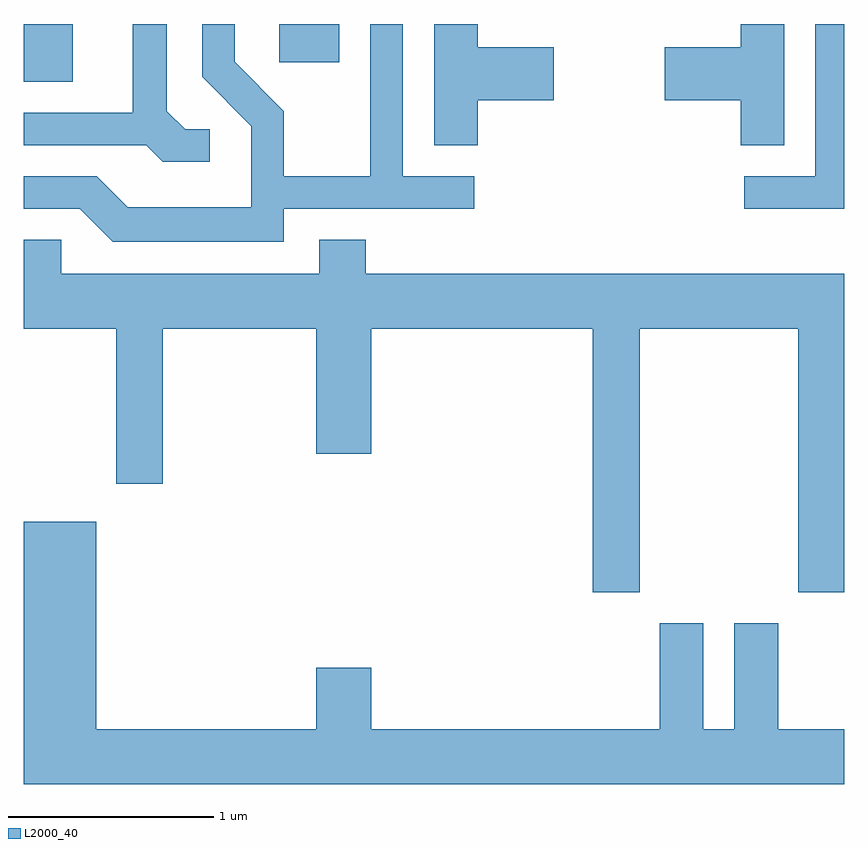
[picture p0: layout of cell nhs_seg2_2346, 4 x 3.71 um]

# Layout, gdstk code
import gdstk
lib = gdstk.Library(unit=1e-6, precision=1e-09)
def R(c, l, rs):  # rectangles x0, y0, x1, y1
    for r in rs: c.add(gdstk.rectangle(r[:2], r[2:], *l))
def P(c, l, *ps):  # polygons
    for p in ps: c.add(gdstk.Polygon(p, *l))
L2000_40 = (2000, 40)

nhs_seg2_2346 = lib.new_cell('nhs_seg2_2346')
R(nhs_seg2_2346, L2000_40, [(253.611,1049.521,253.849,1049.802), (254.856,1049.616,255.149,1049.802)])
P(nhs_seg2_2346, L2000_40, [(257.611,1049.802),(257.471,1049.802),(257.471,1049.059),(257.123,1049.059),(257.123,1048.901),(257.611,1048.901)],
  [(254.518,1049.289),(254.397,1049.289),(254.309,1049.377),(254.309,1049.802),(254.141,1049.802),(254.141,1049.369),(253.611,1049.369),(253.611,1049.211),(254.209,1049.211),(254.289,1049.131),(254.518,1049.131)],
  [(257.319,1049.802),(257.106,1049.802),(257.106,1049.689),(256.736,1049.689),(256.736,1049.431),(257.106,1049.431),(257.106,1049.211),(257.319,1049.211)],
  [(255.824,1049.431),(256.194,1049.431),(256.194,1049.689),(255.824,1049.689),(255.824,1049.802),(255.611,1049.802),(255.611,1049.211),(255.824,1049.211)],
  [(254.879,1048.901),(255.808,1048.901),(255.808,1049.059),(255.459,1049.059),(255.459,1049.802),(255.301,1049.802),(255.301,1049.059),(254.879,1049.059),(254.879,1049.377),(254.639,1049.617),(254.639,1049.802),(254.481,1049.802),(254.481,1049.544),(254.721,1049.304),(254.721,1048.909),(254.117,1048.909),(253.967,1049.059),(253.611,1049.059),(253.611,1048.901),(253.884,1048.901),(254.044,1048.741),(254.879,1048.741)],
  [(256.614,1048.316),(257.386,1048.316),(257.386,1047.031),(257.611,1047.031),(257.611,1048.584),(255.279,1048.584),(255.279,1048.749),(255.051,1048.749),(255.051,1048.584),(253.794,1048.584),(253.794,1048.749),(253.611,1048.749),(253.611,1048.316),(254.061,1048.316),(254.061,1047.561),(254.289,1047.561),(254.289,1048.316),(255.036,1048.316),(255.036,1047.706),(255.304,1047.706),(255.304,1048.316),(256.386,1048.316),(256.386,1047.031),(256.614,1047.031)],
  [(257.611,1046.364),(257.289,1046.364),(257.289,1046.879),(257.076,1046.879),(257.076,1046.364),(256.924,1046.364),(256.924,1046.879),(256.711,1046.879),(256.711,1046.364),(255.304,1046.364),(255.304,1046.664),(255.036,1046.664),(255.036,1046.364),(253.964,1046.364),(253.964,1047.374),(253.611,1047.374),(253.611,1046.096),(257.611,1046.096)])

lib.write_gds('nhs_seg2_2346.gds')
